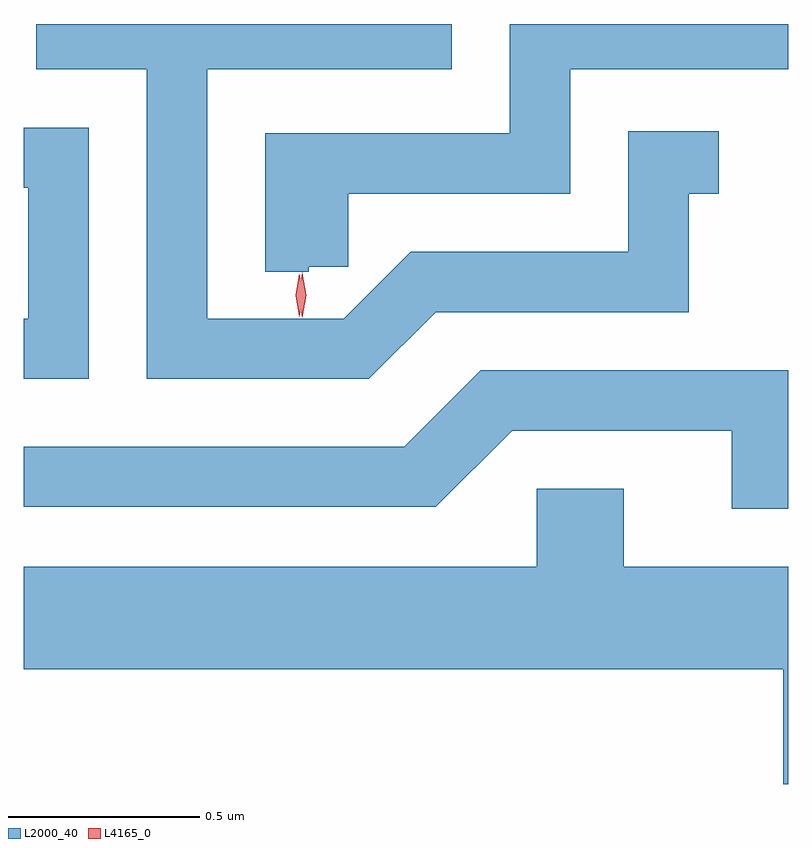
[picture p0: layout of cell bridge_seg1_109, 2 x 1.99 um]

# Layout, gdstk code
import gdstk
lib = gdstk.Library(unit=1e-6, precision=1e-09)
def P(c, l, *ps):  # polygons
    for p in ps: c.add(gdstk.Polygon(p, *l))
L2000_40 = (2000, 40)
L4165_0 = (4165, 0)

bridge_seg1_109 = lib.new_cell('bridge_seg1_109')
P(bridge_seg1_109, L2000_40, [(1392.655,869.55),(1392.758,869.55),(1392.758,869.741),(1393.339,869.741),(1393.339,870.066),(1393.909,870.066),(1393.909,870.185),(1393.181,870.185),(1393.181,869.899),(1392.541,869.899),(1392.541,869.536),(1392.655,869.536)],
  [(1392.987,869.431),(1393.649,869.431),(1393.649,869.741),(1393.728,869.741),(1393.728,869.904),(1393.491,869.904),(1393.491,869.589),(1392.921,869.589),(1392.746,869.414),(1392.389,869.414),(1392.389,870.066),(1393.029,870.066),(1393.029,870.185),(1391.941,870.185),(1391.941,870.066),(1392.231,870.066),(1392.231,869.256),(1392.812,869.256)],
  [(1392.079,869.914),(1391.909,869.914),(1391.909,869.756),(1391.921,869.756),(1391.921,869.414),(1391.909,869.414),(1391.909,869.256),(1392.079,869.256)],
  [(1393.909,869.279),(1393.104,869.279),(1392.904,869.079),(1391.909,869.079),(1391.909,868.921),(1392.987,868.921),(1393.187,869.121),(1393.761,869.121),(1393.761,868.916),(1393.909,868.916)],
  [(1393.909,868.764),(1393.479,868.764),(1393.479,868.969),(1393.251,868.969),(1393.251,868.764),(1391.909,868.764),(1391.909,868.496),(1393.896,868.496),(1393.896,868.196),(1393.909,868.196)])
P(bridge_seg1_109, L4165_0, [(1392.637,869.416),(1392.628,869.475),(1392.637,869.534),(1392.638,869.535),(1392.638,869.534),(1392.648,869.475),(1392.638,869.416),(1392.638,869.416)],
  [(1392.63,869.418),(1392.629,869.419),(1392.62,869.475),(1392.629,869.532),(1392.63,869.532),(1392.63,869.532),(1392.64,869.475),(1392.63,869.419)])

lib.write_gds('bridge_seg1_109.gds')
